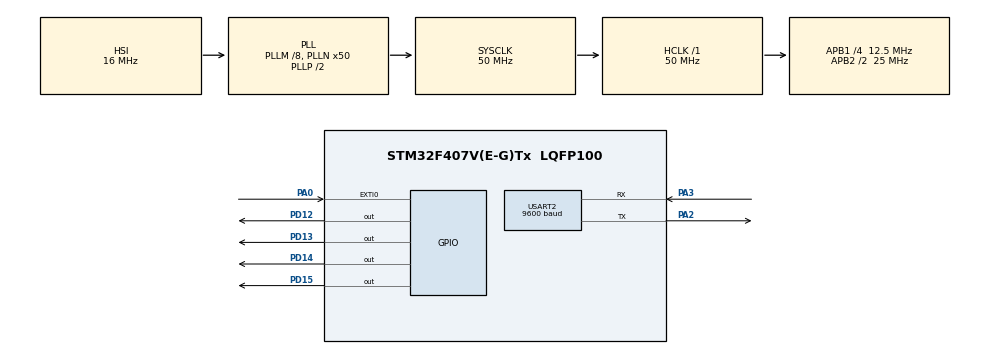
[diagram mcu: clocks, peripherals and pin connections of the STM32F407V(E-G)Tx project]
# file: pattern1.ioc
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Mcu.Family=STM32F4
RCC.CortexFreq_Value=50000000
RCC.APB1CLKDivider=RCC_HCLK_DIV4
USART2.BaudRate=9600
RCC.SYSCLKSource=RCC_SYSCLKSOURCE_PLLCLK
ProjectManager.StackSize=0x400
PA0-WKUP.Signal=GPXTI0
PD13.Signal=GPIO_Output
PA3.Mode=Asynchronous
ProjectManager.TargetToolchain=STM32CubeIDE
RCC.HCLKFreq_Value=50000000
RCC.APB2TimFreq_Value=50000000
RCC.AHBFreq_Value=50000000
RCC.HSE_VALUE=8000000
board=STM32F407G-DISC1
RCC.VCOOutputFreq_Value=100000000
RCC.APB2Freq_Value=25000000
PD13.GPIO_PuPd=GPIO_NOPULL
PD14.GPIO_PuPd=GPIO_NOPULL
Mcu.Name=STM32F407V(E-G)Tx
PA2.Signal=USART2_TX
PD14.Signal=GPIO_Output
RCC.48MHZClocksFreq_Value=14285714.285714285
NVIC.EXTI0_IRQn=true\:0\:0\:false\:false\:true\:true\:true
RCC.SYSCLKFreq_VALUE=50000000
Mcu.Package=LQFP100
USART2.VirtualMode=VM_ASYNC
PD12.Signal=GPIO_Output
PD15.GPIO_PuPd=GPIO_NOPULL
ProjectManager.HeapSize=0x200
RCC.HSI_VALUE=16000000
RCC.PLLQ=7
NVIC.PriorityGroup=NVIC_PRIORITYGROUP_0
RCC.APB2CLKDivider=RCC_HCLK_DIV2
RCC.PLLM=8
RCC.PLLN=50
RCC.APB1TimFreq_Value=25000000
PA2.Mode=Asynchronous
RCC.APB1Freq_Value=12500000
PD15.Signal=GPIO_Output
PD12.GPIO_PuPd=GPIO_NOPULL
PA3.Signal=USART2_RX

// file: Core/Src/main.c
/* USER CODE BEGIN Header */
/**
  ******************************************************************************
  * @file           : main.c
  * @brief          : Main program body
  ******************************************************************************
  * @attention
  *
  * <h2><center>&copy; Copyright (c) 2022 STMicroelectronics.
  * All rights reserved.</center></h2>
  *
  * This software component is licensed by ST under Ultimate Liberty license
  * SLA0044, the "License"; You may not use this file except in compliance with
  * the License. You may obtain a copy of the License at:
  *                             www.st.com/SLA0044
  *
  ******************************************************************************
  */
/* USER CODE END Header */
#include "main.h"

/* USER CODE BEGIN Includes */
#include<stdio.h>
#include<string.h>

/* USER CODE END Includes */

UART_HandleTypeDef huart2;

/* USER CODE BEGIN PV */
volatile int switch_flag =0;

/* USER CODE END PV */

void SystemClock_Config(void);
static void MX_GPIO_Init(void);
static void MX_USART2_UART_Init(void);
/* USER CODE BEGIN PFP */
void UartReceive(char str[])
{
	char ch;
	int i =0;

	do
	{
		HAL_UART_Receive(&huart2, (uint8_t*)&ch,1, HAL_MAX_DELAY);
		str[i]=ch;
		i++;

	}while(ch !='\r');
	str[i]='\n';
	i++;
	str[i]='\0';
}

/* USER CODE END PFP */

int main(void)
{
  /* USER CODE BEGIN 1 */
	char str[100];
	int choice;

  /* USER CODE END 1 */

  /* MCU Configuration--------------------------------------------------------*/

  /* Reset of all peripherals, Initializes the Flash interface and the Systick. */
  HAL_Init();

  /* Configure the system clock */
  SystemClock_Config();

  /* Initialize all configured peripherals */
  MX_GPIO_Init();
  MX_USART2_UART_Init();

  /* Infinite loop */
  while (1)
  {
	  if(switch_flag==1)
	  {
		  strcpy(str,"Select One Option....\r\n1.Pattern1\r\n2.Pattern2\r\n3.Pattern3\r\n4.All Pattern Off\r\n");
		  HAL_UART_Transmit(&huart2, (uint8_t*)str, strlen(str), HAL_MAX_DELAY);
		  HAL_Delay(1000);
		  switch_flag=0;

		  sprintf(str,"enter the choice\r\n");
		  HAL_UART_Transmit(&huart2, (uint8_t*)str, strlen(str), HAL_MAX_DELAY);
		  HAL_Delay(1000);

		  UartReceive(str);
		  sscanf(str,"%d",&choice);
		  // HAL_UART_Transmit(&huart2, (uint8_t*)str, strlen(str), HAL_MAX_DELAY);
		  // UartReceive(str);

		  switch(choice)
		  {
		  case 1:
			  HAL_GPIO_WritePin(GPIOD, GPIO_PIN_13, GPIO_PIN_SET);
			  break;
		  case 2:
			  HAL_GPIO_WritePin(GPIOD, GPIO_PIN_14, GPIO_PIN_SET);
			  break;
		  case 3:
			  HAL_GPIO_WritePin(GPIOD, GPIO_PIN_15, GPIO_PIN_SET);
			  break;
		  case 4:
			  HAL_GPIO_WritePin(GPIOD, GPIO_PIN_15, GPIO_PIN_RESET);
			  HAL_GPIO_WritePin(GPIOD, GPIO_PIN_14, GPIO_PIN_RESET);
			  HAL_GPIO_WritePin(GPIOD, GPIO_PIN_13, GPIO_PIN_RESET);
			  break;

			  //  strcpy(str,"Enter Valid Choice\r\n");
			  //HAL_UART_Transmit(&huart2, (uint8_t*)str, strlen(str), HAL_MAX_DELAY);
		  }
	  }

  }
}

void SystemClock_Config(void)
{
  RCC_OscInitTypeDef RCC_OscInitStruct = {0};
  RCC_ClkInitTypeDef RCC_ClkInitStruct = {0};

  /** Configure the main internal regulator output voltage
  */
  __HAL_RCC_PWR_CLK_ENABLE();
  __HAL_PWR_VOLTAGESCALING_CONFIG(PWR_REGULATOR_VOLTAGE_SCALE1);
  /** Initializes the RCC Oscillators according to the specified parameters
  * in the RCC_OscInitTypeDef structure.
  */
  RCC_OscInitStruct.OscillatorType = RCC_OSCILLATORTYPE_HSI;
  RCC_OscInitStruct.HSIState = RCC_HSI_ON;
  RCC_OscInitStruct.HSICalibrationValue = RCC_HSICALIBRATION_DEFAULT;
  RCC_OscInitStruct.PLL.PLLState = RCC_PLL_ON;
  RCC_OscInitStruct.PLL.PLLSource = RCC_PLLSOURCE_HSI;
  RCC_OscInitStruct.PLL.PLLM = 8;
  RCC_OscInitStruct.PLL.PLLN = 50;
  RCC_OscInitStruct.PLL.PLLP = RCC_PLLP_DIV2;
  RCC_OscInitStruct.PLL.PLLQ = 7;
  if (HAL_RCC_OscConfig(&RCC_OscInitStruct) != HAL_OK)
  {
    Error_Handler();
  }
  /** Initializes the CPU, AHB and APB buses clocks
  */
  RCC_ClkInitStruct.ClockType = RCC_CLOCKTYPE_HCLK|RCC_CLOCKTYPE_SYSCLK
                              |RCC_CLOCKTYPE_PCLK1|RCC_CLOCKTYPE_PCLK2;
  RCC_ClkInitStruct.SYSCLKSource = RCC_SYSCLKSOURCE_PLLCLK;
  RCC_ClkInitStruct.AHBCLKDivider = RCC_SYSCLK_DIV1;
  RCC_ClkInitStruct.APB1CLKDivider = RCC_HCLK_DIV4;
  RCC_ClkInitStruct.APB2CLKDivider = RCC_HCLK_DIV2;

  if (HAL_RCC_ClockConfig(&RCC_ClkInitStruct, FLASH_LATENCY_1) != HAL_OK)
  {
    Error_Handler();
  }
}

static void MX_USART2_UART_Init(void)
{

  huart2.Instance = USART2;
  huart2.Init.BaudRate = 9600;
  huart2.Init.WordLength = UART_WORDLENGTH_8B;
  huart2.Init.StopBits = UART_STOPBITS_1;
  huart2.Init.Parity = UART_PARITY_NONE;
  huart2.Init.Mode = UART_MODE_TX_RX;
  huart2.Init.HwFlowCtl = UART_HWCONTROL_NONE;
  huart2.Init.OverSampling = UART_OVERSAMPLING_16;
  if (HAL_UART_Init(&huart2) != HAL_OK)
  {
    Error_Handler();
  }

}

static void MX_GPIO_Init(void)
{
  GPIO_InitTypeDef GPIO_InitStruct = {0};

  /* GPIO Ports Clock Enable */
  __HAL_RCC_GPIOA_CLK_ENABLE();
  __HAL_RCC_GPIOD_CLK_ENABLE();

  /*Configure GPIO pin Output Level */
  HAL_GPIO_WritePin(GPIOD, GPIO_PIN_12|GPIO_PIN_13|GPIO_PIN_14|GPIO_PIN_15, GPIO_PIN_RESET);

  /*Configure GPIO pin : PA0 */
  GPIO_InitStruct.Pin = GPIO_PIN_0;
  GPIO_InitStruct.Mode = GPIO_MODE_IT_RISING;
  GPIO_InitStruct.Pull = GPIO_NOPULL;
  HAL_GPIO_Init(GPIOA, &GPIO_InitStruct);

  /*Configure GPIO pins : PD12 PD13 PD14 PD15 */
  GPIO_InitStruct.Pin = GPIO_PIN_12|GPIO_PIN_13|GPIO_PIN_14|GPIO_PIN_15;
  GPIO_InitStruct.Mode = GPIO_MODE_OUTPUT_PP;
  GPIO_InitStruct.Pull = GPIO_NOPULL;
  GPIO_InitStruct.Speed = GPIO_SPEED_FREQ_LOW;
  HAL_GPIO_Init(GPIOD, &GPIO_InitStruct);

  /* EXTI interrupt init*/
  HAL_NVIC_SetPriority(EXTI0_IRQn, 0, 0);
  HAL_NVIC_EnableIRQ(EXTI0_IRQn);

}

/* USER CODE BEGIN 4 */

void HAL_GPIO_EXTI_Callback(uint16_t GPIO_PIN)
{
	switch_flag = 1;
}

/* USER CODE END 4 */

void Error_Handler(void)
{
  /* User can add his own implementation to report the HAL error return state */
  __disable_irq();
  while (1)
  {
  }
  /* USER CODE END Error_Handler_Debug */
}

/************************ (C) COPYRIGHT STMicroelectronics *****END OF FILE****/
